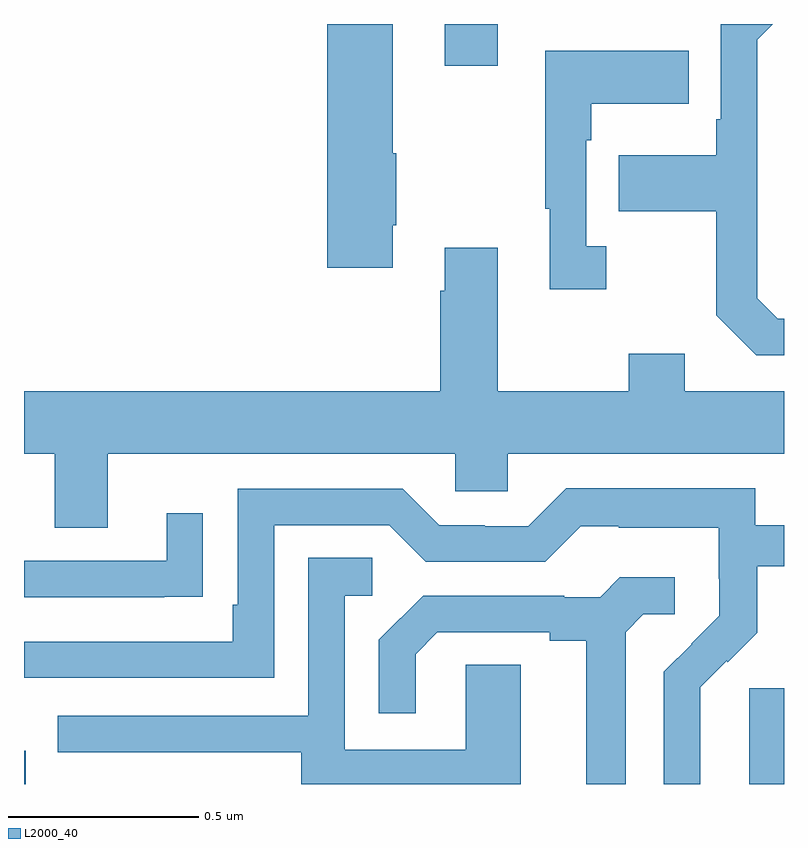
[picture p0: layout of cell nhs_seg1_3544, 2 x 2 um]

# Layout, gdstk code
import gdstk
lib = gdstk.Library(unit=1e-6, precision=1e-09)
def R(c, l, rs):  # rectangles x0, y0, x1, y1
    for r in rs: c.add(gdstk.rectangle(r[:2], r[2:], *l))
def P(c, l, *ps):  # polygons
    for p in ps: c.add(gdstk.Polygon(p, *l))
L2000_40 = (2000, 40)

nhs_seg1_3544 = lib.new_cell('nhs_seg1_3544')
R(nhs_seg1_3544, L2000_40, [(155,548.199,155.004,548.287), (156.908,548.199,157,548.451), (156.107,550.089,156.247,550.199)])
P(nhs_seg1_3544, L2000_40, [(157,549.423),(156.984,549.423),(156.93,549.477),(156.93,550.158),(156.971,550.199),(156.834,550.199),(156.834,549.949),(156.822,549.949),(156.822,549.853),(156.565,549.853),(156.565,549.706),(156.822,549.706),(156.822,549.433),(156.927,549.327),(157,549.327)],
  [(155.971,549.67),(155.979,549.67),(155.979,549.859),(155.971,549.859),(155.971,550.199),(155.798,550.199),(155.798,549.558),(155.971,549.558)],
  [(156.532,549.614),(156.48,549.614),(156.48,549.893),(156.493,549.893),(156.493,549.989),(156.749,549.989),(156.749,550.129),(156.372,550.129),(156.372,549.713),(156.383,549.713),(156.383,549.501),(156.532,549.501)],
  [(155.221,549.068),(156.135,549.068),(156.135,548.97),(156.273,548.97),(156.273,549.068),(157,549.068),(157,549.232),(156.739,549.232),(156.739,549.331),(156.592,549.331),(156.592,549.232),(156.247,549.232),(156.247,549.61),(156.107,549.61),(156.107,549.497),(156.095,549.497),(156.095,549.232),(155,549.232),(155,549.068),(155.081,549.068),(155.081,548.874),(155.221,548.874)],
  [(156.78,548.33),(156.779,548.33),(156.779,548.453),(156.849,548.523),(156.852,548.52),(156.929,548.597),(156.929,548.772),(157,548.772),(157,548.88),(156.924,548.88),(156.924,548.977),(156.427,548.977),(156.327,548.877),(156.212,548.877),(156.212,548.88),(156.093,548.88),(155.997,548.976),(155.562,548.976),(155.562,548.671),(155.549,548.671),(155.549,548.574),(155,548.574),(155,548.478),(155.658,548.478),(155.658,548.88),(155.961,548.88),(156.057,548.784),(156.372,548.784),(156.465,548.877),(156.565,548.877),(156.565,548.873),(156.828,548.873),(156.828,548.739),(156.83,548.739),(156.83,548.642),(156.756,548.568),(156.757,548.567),(156.684,548.494),(156.684,548.199),(156.78,548.199)],
  [(155.369,548.692),(155.471,548.692),(155.471,548.911),(155.375,548.911),(155.375,548.787),(155,548.787),(155,548.691),(155.369,548.691)],
  [(156.307,548.513),(156.162,548.513),(156.162,548.289),(155.844,548.289),(155.844,548.694),(155.917,548.694),(155.917,548.795),(155.748,548.795),(155.748,548.379),(155.089,548.379),(155.089,548.283),(155.729,548.283),(155.729,548.199),(156.307,548.199)],
  [(156.583,548.599),(156.63,548.646),(156.712,548.646),(156.712,548.743),(156.568,548.743),(156.516,548.691),(156.422,548.691),(156.422,548.694),(156.05,548.694),(155.934,548.578),(155.934,548.385),(156.031,548.385),(156.031,548.541),(156.088,548.598),(156.383,548.598),(156.383,548.576),(156.479,548.576),(156.479,548.199),(156.583,548.199)])

lib.write_gds('nhs_seg1_3544.gds')
